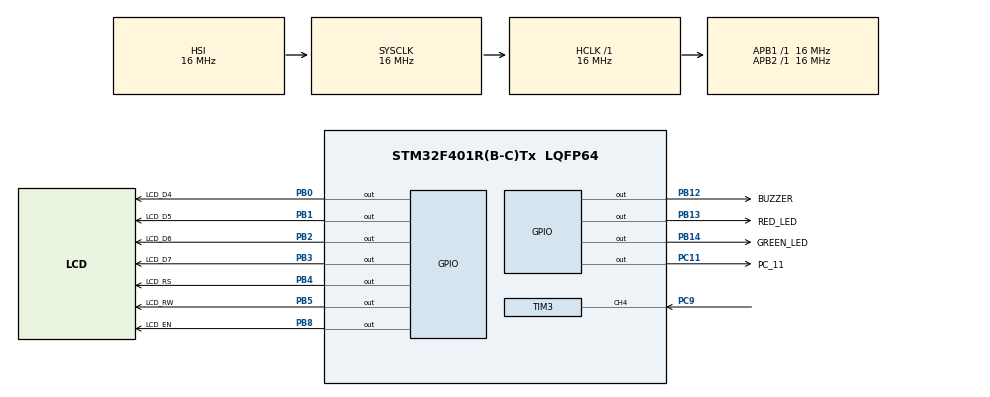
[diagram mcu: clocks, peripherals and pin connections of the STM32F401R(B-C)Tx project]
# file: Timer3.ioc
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Mcu.Family=STM32F4
Mcu.Name=STM32F401R(B-C)Tx
Mcu.Package=LQFP64
NVIC.PriorityGroup=NVIC_PRIORITYGROUP_4
NVIC.TIM3_IRQn=true\:0\:0\:false\:false\:true\:true\:true\:true
PB0.GPIO_Label=LCD_D4
PB0.Signal=GPIO_Output
PB1.GPIO_Label=LCD_D5
PB1.Signal=GPIO_Output
PB12.GPIO_Label=BUZZER
PB12.Signal=GPIO_Output
PB13.GPIO_Label=RED_LED
PB13.Signal=GPIO_Output
PB14.GPIO_Label=GREEN_LED
PB14.Signal=GPIO_Output
PB2.GPIO_Label=LCD_D6
PB2.Signal=GPIO_Output
PB3.GPIO_Label=LCD_D7
PB3.Signal=GPIO_Output
PB4.GPIO_Label=LCD_RS
PB4.Signal=GPIO_Output
PB5.GPIO_Label=LCD_RW
PB5.Signal=GPIO_Output
PB8.GPIO_Label=LCD_EN
PB8.Signal=GPIO_Output
PC11.GPIO_Label=PC_11
PC11.Signal=GPIO_Output
PC9.Signal=S_TIM3_CH4
ProjectManager.HeapSize=0x200
ProjectManager.StackSize=0x400
ProjectManager.TargetToolchain=STM32CubeIDE
RCC.AHBFreq_Value=16000000
RCC.APB1Freq_Value=16000000
RCC.APB2Freq_Value=16000000
RCC.CortexFreq_Value=16000000
RCC.HSE_VALUE=25000000
RCC.HSI_VALUE=16000000
RCC.LSE_VALUE=32768
RCC.SYSCLKFreq_VALUE=16000000
RCC.VCOOutputFreq_Value=192000000
SH.S_TIM3_CH4.0=TIM3_CH4,Input_Capture4_from_TI4
TIM3.Channel-Input_Capture4_from_TI4=TIM_CHANNEL_4
VP_TIM3_VS_ClockSourceINT.Mode=Internal
board=custom

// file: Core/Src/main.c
/* USER CODE BEGIN Header */
/**
  ******************************************************************************
  * @file           : main.c
  * @brief          : Main program body
  ******************************************************************************
  * @attention
  *
  * Copyright (c) 2026 STMicroelectronics.
  * All rights reserved.
  *
  * This software is licensed under terms that can be found in the LICENSE file
  * in the root directory of this software component.
  * If no LICENSE file comes with this software, it is provided AS-IS.
  *
  ******************************************************************************
  */
/* USER CODE END Header */
#include "main.h"

/* USER CODE BEGIN Includes */
#include<stdio.h>
#include"LCD.h"
/* USER CODE END Includes */

/* USER CODE BEGIN PM */
#define DIST_THRESHOLD 20   // 20 cm
/* USER CODE END PM */

TIM_HandleTypeDef htim3;

/* USER CODE BEGIN PV */
/* USER CODE BEGIN PV */

uint32_t IC_Val1 = 0;
uint32_t IC_Val2 = 0;
uint32_t Difference = 0;

uint8_t Is_First_Captured = 0;

float Distance = 0;
float previous_distance = -1;
//uint8_t object_detected = 0;
uint8_t object_state = 0;
uint8_t previous_state = 255;
char str[] = "OBJECT DETECTED: ";
char str1[] = "SAFE ZONE: ";
/* USER CODE END PV */

void SystemClock_Config(void);
static void MX_GPIO_Init(void);
static void MX_TIM3_Init(void);

/* USER CODE BEGIN 0 */
void HCSR04_Trigger(void)
{
 HAL_GPIO_WritePin(PC_11_GPIO_Port, PC_11_Pin, GPIO_PIN_RESET);
 HAL_Delay(1);

 HAL_GPIO_WritePin(PC_11_GPIO_Port, PC_11_Pin, GPIO_PIN_SET);
 HAL_Delay(1);

 for(int i=0;i<30;i++);   // ~10 µs delay

 HAL_GPIO_WritePin(PC_11_GPIO_Port, PC_11_Pin, GPIO_PIN_RESET);
}
/* USER CODE END 0 */

int main(void)
{

  /* MCU Configuration--------------------------------------------------------*/

  /* Reset of all peripherals, Initializes the Flash interface and the Systick. */
  HAL_Init();

  /* Configure the system clock */
  SystemClock_Config();

  /* Initialize all configured peripherals */
  MX_GPIO_Init();
  MX_TIM3_Init();
  /* USER CODE BEGIN 2 */
   LCD_Initialization();
  HAL_TIM_IC_Start_IT(&htim3, TIM_CHANNEL_4);
  HAL_GPIO_WritePin(RED_LED_GPIO_Port, RED_LED_Pin, GPIO_PIN_SET); //red on
  HAL_GPIO_WritePin(BUZZER_GPIO_Port, BUZZER_Pin, GPIO_PIN_RESET); //buzzer on
  HAL_GPIO_WritePin(GREEN_LED_GPIO_Port, GREEN_LED_Pin, GPIO_PIN_SET); //green off
  /* USER CODE END 2 */

  /* Infinite loop */
  /* USER CODE BEGIN WHILE */
  while (1)
  {
	  HCSR04_Trigger();
	  if (object_state != previous_state)
	  {
	    if(object_state)
	    {
	        LCD_Write_Command(0x01);
	        LCD_Write_String(str);
	        HAL_GPIO_WritePin(RED_LED_GPIO_Port, RED_LED_Pin, GPIO_PIN_RESET); //red on
	        HAL_GPIO_WritePin(BUZZER_GPIO_Port, BUZZER_Pin, GPIO_PIN_RESET); //buzzer on
	        HAL_GPIO_WritePin(GREEN_LED_GPIO_Port, GREEN_LED_Pin, GPIO_PIN_SET); //green off
	    }
	    else
	    {
	        LCD_Write_Command(0x01);
	 	    LCD_Write_String(str1);
	 	    HAL_GPIO_WritePin(RED_LED_GPIO_Port, RED_LED_Pin, GPIO_PIN_SET); //red off
	 	    HAL_GPIO_WritePin(BUZZER_GPIO_Port, BUZZER_Pin, GPIO_PIN_RESET); //buzzer off
	 	    HAL_GPIO_WritePin(GREEN_LED_GPIO_Port, GREEN_LED_Pin, GPIO_PIN_RESET); //green on
	    }
	    char dist_str[11];
	    sprintf(dist_str,"Dist:%d cm",(int)Distance);

	    LCD_Write_Command(0xC0);
	    LCD_Write_String(dist_str);
	    previous_state = object_state;
	  }
	  HAL_Delay(60);
    /* USER CODE END WHILE */

  }
}

void SystemClock_Config(void)
{
  RCC_OscInitTypeDef RCC_OscInitStruct = {0};
  RCC_ClkInitTypeDef RCC_ClkInitStruct = {0};

  /** Configure the main internal regulator output voltage
  */
  __HAL_RCC_PWR_CLK_ENABLE();
  __HAL_PWR_VOLTAGESCALING_CONFIG(PWR_REGULATOR_VOLTAGE_SCALE2);

  /** Initializes the RCC Oscillators according to the specified parameters
  * in the RCC_OscInitTypeDef structure.
  */
  RCC_OscInitStruct.OscillatorType = RCC_OSCILLATORTYPE_HSI;
  RCC_OscInitStruct.HSIState = RCC_HSI_ON;
  RCC_OscInitStruct.HSICalibrationValue = RCC_HSICALIBRATION_DEFAULT;
  RCC_OscInitStruct.PLL.PLLState = RCC_PLL_NONE;
  if (HAL_RCC_OscConfig(&RCC_OscInitStruct) != HAL_OK)
  {
    Error_Handler();
  }

  /** Initializes the CPU, AHB and APB buses clocks
  */
  RCC_ClkInitStruct.ClockType = RCC_CLOCKTYPE_HCLK|RCC_CLOCKTYPE_SYSCLK
                              |RCC_CLOCKTYPE_PCLK1|RCC_CLOCKTYPE_PCLK2;
  RCC_ClkInitStruct.SYSCLKSource = RCC_SYSCLKSOURCE_HSI;
  RCC_ClkInitStruct.AHBCLKDivider = RCC_SYSCLK_DIV1;
  RCC_ClkInitStruct.APB1CLKDivider = RCC_HCLK_DIV1;
  RCC_ClkInitStruct.APB2CLKDivider = RCC_HCLK_DIV1;

  if (HAL_RCC_ClockConfig(&RCC_ClkInitStruct, FLASH_LATENCY_0) != HAL_OK)
  {
    Error_Handler();
  }
}

static void MX_TIM3_Init(void)
{

  TIM_ClockConfigTypeDef sClockSourceConfig = {0};
  TIM_MasterConfigTypeDef sMasterConfig = {0};
  TIM_IC_InitTypeDef sConfigIC = {0};

  htim3.Instance = TIM3;
  htim3.Init.Prescaler = 15;
  htim3.Init.CounterMode = TIM_COUNTERMODE_UP;
  htim3.Init.Period = 65535;
  htim3.Init.ClockDivision = TIM_CLOCKDIVISION_DIV1;
  htim3.Init.AutoReloadPreload = TIM_AUTORELOAD_PRELOAD_DISABLE;
  if (HAL_TIM_Base_Init(&htim3) != HAL_OK)
  {
    Error_Handler();
  }
  sClockSourceConfig.ClockSource = TIM_CLOCKSOURCE_INTERNAL;
  if (HAL_TIM_ConfigClockSource(&htim3, &sClockSourceConfig) != HAL_OK)
  {
    Error_Handler();
  }
  if (HAL_TIM_IC_Init(&htim3) != HAL_OK)
  {
    Error_Handler();
  }
  sMasterConfig.MasterOutputTrigger = TIM_TRGO_RESET;
  sMasterConfig.MasterSlaveMode = TIM_MASTERSLAVEMODE_DISABLE;
  if (HAL_TIMEx_MasterConfigSynchronization(&htim3, &sMasterConfig) != HAL_OK)
  {
    Error_Handler();
  }
  sConfigIC.ICPolarity = TIM_INPUTCHANNELPOLARITY_RISING;
  sConfigIC.ICSelection = TIM_ICSELECTION_DIRECTTI;
  sConfigIC.ICPrescaler = TIM_ICPSC_DIV1;
  sConfigIC.ICFilter = 0;
  if (HAL_TIM_IC_ConfigChannel(&htim3, &sConfigIC, TIM_CHANNEL_4) != HAL_OK)
  {
    Error_Handler();
  }

}

static void MX_GPIO_Init(void)
{
  GPIO_InitTypeDef GPIO_InitStruct = {0};

  /* GPIO Ports Clock Enable */
  __HAL_RCC_GPIOB_CLK_ENABLE();
  __HAL_RCC_GPIOC_CLK_ENABLE();

  /*Configure GPIO pin Output Level */
  HAL_GPIO_WritePin(GPIOB, LCD_D4_Pin|LCD_D5_Pin|LCD_D6_Pin|BUZZER_Pin
                          |RED_LED_Pin|GREEN_LED_Pin|LCD_D7_Pin|LCD_RS_Pin
                          |LCD_RW_Pin|LCD_EN_Pin, GPIO_PIN_RESET);

  /*Configure GPIO pin Output Level */
  HAL_GPIO_WritePin(PC_11_GPIO_Port, PC_11_Pin, GPIO_PIN_RESET);

  /*Configure GPIO pins : LCD_D4_Pin LCD_D5_Pin LCD_D6_Pin BUZZER_Pin
                           RED_LED_Pin GREEN_LED_Pin LCD_D7_Pin LCD_RS_Pin
                           LCD_RW_Pin LCD_EN_Pin */
  GPIO_InitStruct.Pin = LCD_D4_Pin|LCD_D5_Pin|LCD_D6_Pin|BUZZER_Pin
                          |RED_LED_Pin|GREEN_LED_Pin|LCD_D7_Pin|LCD_RS_Pin
                          |LCD_RW_Pin|LCD_EN_Pin;
  GPIO_InitStruct.Mode = GPIO_MODE_OUTPUT_PP;
  GPIO_InitStruct.Pull = GPIO_NOPULL;
  GPIO_InitStruct.Speed = GPIO_SPEED_FREQ_LOW;
  HAL_GPIO_Init(GPIOB, &GPIO_InitStruct);

  /*Configure GPIO pin : PC_11_Pin */
  GPIO_InitStruct.Pin = PC_11_Pin;
  GPIO_InitStruct.Mode = GPIO_MODE_OUTPUT_PP;
  GPIO_InitStruct.Pull = GPIO_NOPULL;
  GPIO_InitStruct.Speed = GPIO_SPEED_FREQ_LOW;
  HAL_GPIO_Init(PC_11_GPIO_Port, &GPIO_InitStruct);

}

/* USER CODE BEGIN 4 */

void HAL_TIM_IC_CaptureCallback(TIM_HandleTypeDef *htim)
{
 if (htim->Channel == HAL_TIM_ACTIVE_CHANNEL_4)
 {

  if(Is_First_Captured == 0)
  {
   IC_Val1 = HAL_TIM_ReadCapturedValue(htim, TIM_CHANNEL_4);
   Is_First_Captured = 1;

   __HAL_TIM_SET_CAPTUREPOLARITY(htim, TIM_CHANNEL_4, TIM_INPUTCHANNELPOLARITY_FALLING);
  }

  else if(Is_First_Captured == 1)
  {
   IC_Val2 = HAL_TIM_ReadCapturedValue(htim, TIM_CHANNEL_4);

   if(IC_Val2 > IC_Val1)
    Difference = IC_Val2 - IC_Val1;
   else
    Difference = (65535 - IC_Val1) + IC_Val2;

   Distance = (Difference * 0.034f) / 2.0f;

   if(Distance < 2 || Distance > 400)
       return;
   if(Distance < DIST_THRESHOLD)
   {
	object_state =1;
   }
   else
   {
	   object_state =0;
   }

   Is_First_Captured = 0;

   __HAL_TIM_SET_COUNTER(htim, 0);
   __HAL_TIM_SET_CAPTUREPOLARITY(htim, TIM_CHANNEL_4, TIM_INPUTCHANNELPOLARITY_RISING);
  }
 }
}

/* USER CODE END 4 */

void Error_Handler(void)
{
  __disable_irq();
  while (1)
  {
  }
}
